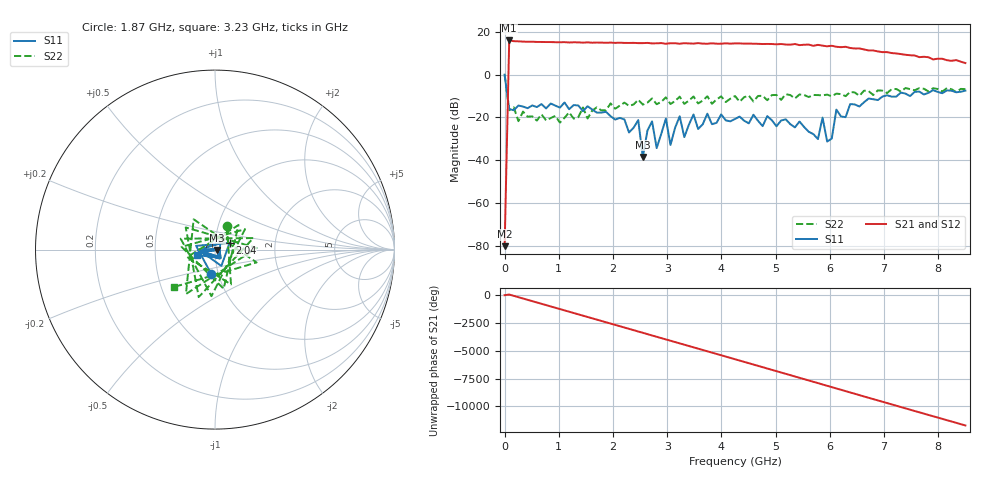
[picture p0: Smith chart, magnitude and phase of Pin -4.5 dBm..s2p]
! RsaToolbox (C) 2013 Rohde & Schwarz America
! Number of points: 101
! Number of ports: 2
! Balanced ports?: 0
# Hz S RI R 50
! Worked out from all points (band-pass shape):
!   101 points, 9 kHz to 8.5 GHz, reference 50 ohm
!   highest |S21| = 16.05 dB at 85.01 MHz (marker M1); lowest = -80.2 dB at 9 kHz (marker M2)
!   |S21| within 3 dB of the highest: 82.36 MHz to 6.143 GHz (6.06 GHz wide, 195 % of centre); 6.270322 GHz to 6.296806 GHz (26.48 MHz wide, 0.421 % of centre)
!   lowest |S11| = -38.5 dB at 2.55 GHz (marker M3), VSWR 1.02, Z = 51.2 - j0.158 ohm
!   |S11| at or under -10 dB: 53.12 MHz to 6.998 GHz (6.945 GHz wide, 197 % of centre); 7.108 GHz to 7.235 GHz (126.7 MHz wide, 1.77 % of centre)
!   |S22| runs from -22.4 to 0.1 dB; largest |S21 - S12| = 0
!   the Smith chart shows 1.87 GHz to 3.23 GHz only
!   S11 on the Smith chart (normalised r, x): 1.87 GHz: 0.92, -0.25; 2.04 GHz: 1.17, +0.09; 3.23 GHz: 0.81, -0.05
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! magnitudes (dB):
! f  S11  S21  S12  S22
! 9 kHz  0.1  -80.2  -80.2  0.1
! 85.01 MHz  -16.0  16.1  16.1  -16.6
! 1.02 GHz  -15.4  15.2  15.2  -22.4
! 1.445 GHz  -17.0  15.0  15.0  -15.3
! 1.87 GHz  -17.3  15.0  15.0  -16.6
! 2.04 GHz  -21.0  14.9  14.9  -15.9
! 2.465 GHz  -21.2  14.8  14.8  -11.7
! 2.55 GHz  -38.5  14.8  14.8  -14.0
! 2.72 GHz  -21.8  14.7  14.7  -11.1
! 2.805 GHz  -34.3  14.7  14.7  -13.8
! 2.89 GHz  -27.6  14.8  14.8  -12.7
! 2.975 GHz  -20.5  14.5  14.5  -10.6
! 3.06 GHz  -32.9  14.8  14.8  -13.7
! 3.23 GHz  -19.4  14.5  14.5  -10.2
! 3.315 GHz  -29.2  14.8  14.8  -13.6
! 3.485 GHz  -18.6  14.6  14.6  -10.2
! 4.25 GHz  -20.7  14.7  14.7  -9.9
! 5.695 GHz  -27.8  13.6  13.6  -9.5
! 5.95 GHz  -31.3  13.3  13.3  -9.3
! 6.12 GHz  -16.3  13.1  13.1  -8.8
! 7.14 GHz  -10.3  10.2  10.2  -6.8
! 8.5 GHz  -7.4  5.5  5.5  -6.7
